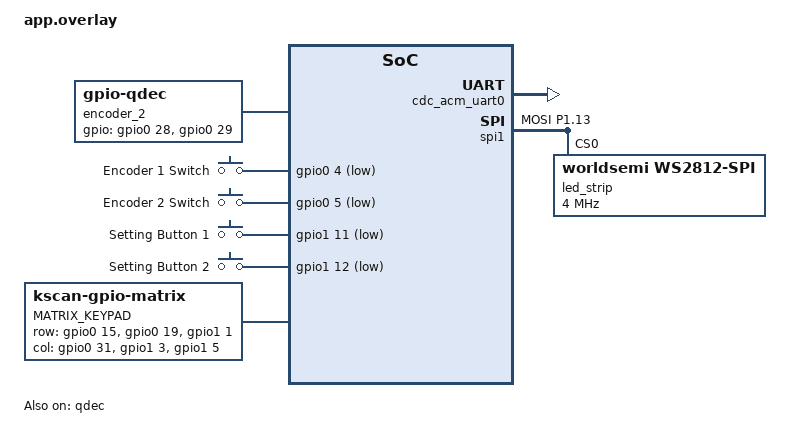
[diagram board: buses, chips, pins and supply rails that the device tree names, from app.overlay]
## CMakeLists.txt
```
cmake_minimum_required(VERSION 3.20.0)

# 尋找 Zephyr 核心
find_package(Zephyr REQUIRED HINTS $ENV{ZEPHYR_BASE})

project(ENC)

# 指定主程式原始碼位置
target_sources(app PRIVATE src/main.c)
```

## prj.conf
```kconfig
# ==========================================
# ENC 基礎設定
# ==========================================
CONFIG_BT=y
CONFIG_BT_PERIPHERAL=y
CONFIG_BT_DEVICE_NAME="ENC"

# 開啟 GPIO 驅動
CONFIG_GPIO=y
CONFIG_SENSOR=y

# --- 解決 USB 版本衝突 ---
# 關閉新世代 USB 堆疊 (避免與經典版打架)
CONFIG_USB_DEVICE_STACK_NEXT=n

# --- 開啟經典版 USB 設備與 Console ---
CONFIG_USB_DEVICE_STACK=y
CONFIG_USB_DEVICE_INITIALIZE_AT_BOOT=n
CONFIG_CONSOLE=y
CONFIG_UART_CONSOLE=y
CONFIG_UART_LINE_CTRL=y

# 關閉電源管理，強制 nRF52840 的高頻時鐘永遠運作，確保 QDEC 不會睡著
CONFIG_PM=n

# 將 USB 輸出緩衝區加大 8 倍，防止 printk 卡死程式迴圈
CONFIG_USB_CDC_ACM_RINGBUF_SIZE=4096
```

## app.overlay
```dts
#include <zephyr/dt-bindings/led/led.h>
#include <zephyr/dt-bindings/input/input-event-codes.h>

/* ==========================================
 * 1. 系統預設與虛擬節點設定 (Root Node)
 * ========================================== */
/ {
    chosen {
        /* 指定系統 Console 使用 USB CDC */
        zephyr,console = &cdc_acm_uart0;
    };

    /* --- 編碼器 2 (小滾輪：軟體 GPIO QDEC, 使用 D2 & D3) --- */
    encoder_2: qdec_soft {
        compatible = "gpio-qdec";
        /* D2對應 P0.28, D3對應 P0.29 */
        gpios = <&gpio0 28 (GPIO_ACTIVE_HIGH | GPIO_PULL_UP)>,
                <&gpio0 29 (GPIO_ACTIVE_HIGH | GPIO_PULL_UP)>;
        steps-per-period = <4>;
        zephyr,axis = <INPUT_REL_WHEEL>;
        sample-time-us = <2000>;
        idle-timeout-ms = <250>;
    };

    /* --- 獨立按鍵 (編碼器下壓 x2, 設定按鍵 x2) --- */
    buttons: buttons {
        compatible = "gpio-keys";
        enc_sw1: enc_sw1 {
            gpios = <&gpio0 4 (GPIO_ACTIVE_LOW | GPIO_PULL_UP)>; /* D4 */
            label = "Encoder 1 Switch";
        };
        enc_sw2: enc_sw2 {
            gpios = <&gpio0 5 (GPIO_ACTIVE_LOW | GPIO_PULL_UP)>; /* D5 */
            label = "Encoder 2 Switch";
        };
        set_btn1: set_btn1 {
            gpios = <&gpio1 11 (GPIO_ACTIVE_LOW | GPIO_PULL_UP)>; /* D6 */
            label = "Setting Button 1";
        };
        set_btn2: set_btn2 {
            gpios = <&gpio1 12 (GPIO_ACTIVE_LOW | GPIO_PULL_UP)>; /* D7 */
            label = "Setting Button 2";
        };
    };

    /* --- 3x3 矩陣按鍵 (使用 Zephyr 內建的 kscan 掃描架構) --- */
    kscan0: kscan0 {
        compatible = "zephyr,kscan-gpio-matrix";
        label = "MATRIX_KEYPAD";
        diode-direction = "col2row";
        
        /* 行 (Row): D11(P0.15), D12(P0.19), D13(P1.01) - 位於背面銲盤 */
        row-gpios = <&gpio0 15 (GPIO_ACTIVE_HIGH | GPIO_PULL_DOWN)>,
                    <&gpio0 19 (GPIO_ACTIVE_HIGH | GPIO_PULL_DOWN)>,
                    <&gpio1 1  (GPIO_ACTIVE_HIGH | GPIO_PULL_DOWN)>;
                    
        /* 列 (Col): D16(P0.31), D17(P1.03), D18(P1.05) - 位於背面銲盤 */
        col-gpios = <&gpio0 31 GPIO_ACTIVE_HIGH>,
                    <&gpio1 3  GPIO_ACTIVE_HIGH>,
                    <&gpio1 5  GPIO_ACTIVE_HIGH>;
    };
};

/* ==========================================
 * 2. 硬體周邊介面設定 (Hardware Interfaces)
 * ========================================== */

/* 宣告 USB CDC 節點 */
&zephyr_udc0 {
    cdc_acm_uart0: cdc_acm_uart0 {
        compatible = "zephyr,cdc-acm-uart";
    };
};

/* 定義硬體腳位功能 (Pinctrl) */
&pinctrl {
    /* 編碼器 1 (大旋鈕，硬體 QDEC，使用 D0 & D1) */
    qdec_default: qdec_default {
        group1 {
            psels = <NRF_PSEL(QDEC_A, 0, 2)>,  /* D0 = P0.02 */
                    <NRF_PSEL(QDEC_B, 0, 3)>;  /* D1 = P0.03 */
            bias-pull-up;
        };
    };

    /* WS2812 LED 的 SPI 資料輸出腳位 (D8 = P1.13) */
    spi1_default: spi1_default {
        group1 {
            psels = <NRF_PSEL(SPIM_MOSI, 1, 13)>;
        };
    };
};

/* --- 硬體 QDEC 設定 (編碼器 1) --- */
&qdec {
    status = "okay";
    pinctrl-0 = <&qdec_default>;
    pinctrl-names = "default";
    steps = <24>;
    led-pre = <0>; 
    nordic,period = "SAMPLEPER_1024US";
};

/* --- WS2812 串列 LED 設定 --- */
&spi1 {
    compatible = "nordic,nrf-spim";
    status = "okay";
    pinctrl-0 = <&spi1_default>;
    pinctrl-names = "default";

    led_strip: ws2812@0 {
        compatible = "worldsemi,ws2812-spi";
        reg = <0>;
        spi-max-frequency = <4000000>;
        chain-length = <6>; /* 對應設計圖：總共 6 顆指示燈 */
        spi-one-frame = <0x70>;
        spi-zero-frame = <0x40>;
        color-mapping = <LED_COLOR_ID_GREEN
                         LED_COLOR_ID_RED
                         LED_COLOR_ID_BLUE>;
    };
};
```

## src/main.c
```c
#include <zephyr/kernel.h>
#include <zephyr/device.h>
#include <zephyr/drivers/sensor.h>
#include <zephyr/usb/usb_device.h>

/* 定義編碼器刻度與度數轉換 */
#define ENCODER_STEPS DT_PROP(DT_NODELABEL(qdec), steps)
#define EDGES_PER_CLICK 4
#define DEGREES_PER_CLICK ((EDGES_PER_CLICK * 360) / ENCODER_STEPS) /* 算出來會是 60 */

int main(void)
{
    /* 初始化 USB (忽略黃色警告) */
    if (usb_enable(NULL)) return 0;
    k_msleep(3000); 

    printk("USB 序列埠初始化完成！\n");
    printk("設定: 一圈 %d 格，每格 %d 度\n", ENCODER_STEPS, DEGREES_PER_CLICK);

    const struct device *const qdec_dev = DEVICE_DT_GET(DT_NODELABEL(qdec));
    if (!device_is_ready(qdec_dev)) {
        printk("QDEC 設備尚未準備好！\n");
        return 0;
    }

    struct sensor_value val;
    int accumulated_degrees = 0; /* 用來收集碎片的撲滿 */

    printk("【正式模式】開始！準備好享受絲般滑順的手感了嗎...\n");

    while (1) {
        sensor_sample_fetch(qdec_dev);
        sensor_channel_get(qdec_dev, SENSOR_CHAN_ROTATION, &val);

        int delta_degrees = val.val1;

        /* 只要有變化，就把度數丟進撲滿 */
        if (delta_degrees != 0) {
            accumulated_degrees += delta_degrees;
            
            /* 檢查撲滿裡面的度數，夠不夠換算成「實體格數」 */
            int clicks_moved = accumulated_degrees / DEGREES_PER_CLICK;
            
            if (clicks_moved != 0) {
                
                /* 觸發鍵盤/巨集輸出 */
                if (clicks_moved > 0) {
                    for (int i = 0; i < clicks_moved; i++) {
                        printk("➡️ 右轉 1 格\n");
                    }
                } else {
                    for (int i = 0; i < -clicks_moved; i++) {
                        printk("⬅️ 左轉 1 格\n");
                    }
                }
                
                /* 把已經印出去的度數扣掉，保留剩下的零頭 */
                accumulated_degrees %= DEGREES_PER_CLICK; 
            }
        }

        /* 保持 20ms 的超高頻率刷新 */
        k_msleep(20);
    }
    return 0;
}
```
